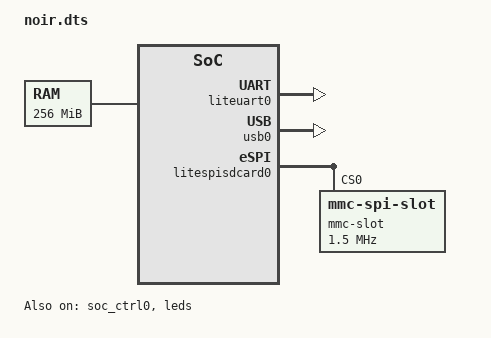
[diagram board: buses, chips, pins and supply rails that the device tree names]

/dts-v1/;

/ {
        #address-cells = <1>;
        #size-cells    = <1>;


        chosen {
            bootargs = "console=liteuart earlycon=liteuart,0xf0001000 rootwait root=/dev/ram0";
            linux,initrd-start = <0x41000000>;
            linux,initrd-end   = <0x41800000>;
        };

        cpus {
            #address-cells = <1>;
            #size-cells    = <0>;
            timebase-frequency = <40000000>;

            CPU0: cpu@0 {
                device_type = "cpu";
                compatible = "riscv";
                riscv,isa = "rv32i2p0_ma";
                mmu-type = "riscv,sv32";
                reg = <0>;
                clock-frequency = <40000000>;
                status = "okay";
                
                d-cache-size = <4096>;
                d-cache-sets = <1>;
                d-cache-block-size = <64>;

                i-cache-size = <4096>;
                i-cache-sets = <1>;
                i-cache-block-size = <64>;

                
                d-tlb-size = <4>;
                d-tlb-sets = <4>;

                i-tlb-size = <4>;
                i-tlb-sets = <4>;

                L0: interrupt-controller {
                    #interrupt-cells = <0x00000001>;
                    interrupt-controller;
                    compatible = "riscv,cpu-intc";
                };
            };

            
        };

        memory@40000000 {
            device_type = "memory";
            reg = <0x40000000 0x10000000>;
        };

        reserved-memory {
            #address-cells = <1>;
            #size-cells    = <1>;
            ranges;

            opensbi@40f00000 {
                reg = <0x40f00000 0x80000>;
            };

            framebuffer@40c00000 {
                reg = <0x40c00000 0x96000>;
            };

        };

        clocks {
            sys_clk: litex_sys_clk {
                #clock-cells = <0>;
                compatible = "fixed-clock";
                clock-frequency = <40000000>;
            };
        };

        soc {
            #address-cells = <1>;
            #size-cells    = <1>;
            compatible = "simple-bus";
            interrupt-parent = <&intc0>;
            ranges;

            soc_ctrl0: soc_controller@f0000000 {
                compatible = "litex,soc-controller";
                reg = <0xf0000000 0xc>;
                status = "okay";
            };

            intc0: interrupt-controller@f0c00000 {
                compatible = "sifive,fu540-c000-plic", "sifive,plic-1.0.0";
                reg = <0xf0c00000 0x400000>;
                #address-cells = <0>;
                #interrupt-cells = <1>;
                interrupt-controller;
                interrupts-extended = <
                    &L0 11 &L0 9>;
                riscv,ndev = <32>;
            };

            liteuart0: serial@f0001000 {
                compatible = "litex,liteuart";
                reg = <0xf0001000 0x100>;
                interrupts = <0>;
                status = "okay";
            };

            usb0: mac@c0000000 {
                compatible = "generic-ohci";
                reg = <0xc0000000 0x1000>;
                interrupts = <16>;
                status = "okay";
            };

            litespisdcard0: spi@f0003800 {
                compatible = "litex,litespi";
                reg = <0xf0003800 0x100>;
                status = "okay";

                litespi,max-bpw = <8>;
                litespi,sck-frequency = <1500000>;
                litespi,num-cs = <1>;

                #address-cells = <1>;
                #size-cells    = <0>;

                mmc-slot@0 {
                    compatible = "mmc-spi-slot";
                    reg = <0>;
                    voltage-ranges = <3300 3300>;
                    spi-max-frequency = <1500000>;
                    status = "okay";
                    };
            };

            leds: gpio@f0002800 {
                compatible = "litex,gpio";
                reg = <0xf0002800 0x4>;
                gpio-controller;
                #gpio-cells = <2>;
                litex,direction = "out";
                status = "disabled";
            };

            framebuffer0: framebuffer@40c00000 {
                compatible = "simple-framebuffer";
                reg = <0x40c00000 0x96000>;
                width = <640>;
                height = <480>;
                stride = <1280>;
                format = "r5g6b5";
            };

        };

        aliases {

                serial0 = &liteuart0;

                sdcard0 = &litespisdcard0;

        };

};

&leds {
        litex,ngpio = <4>;
        status = "okay";
};
